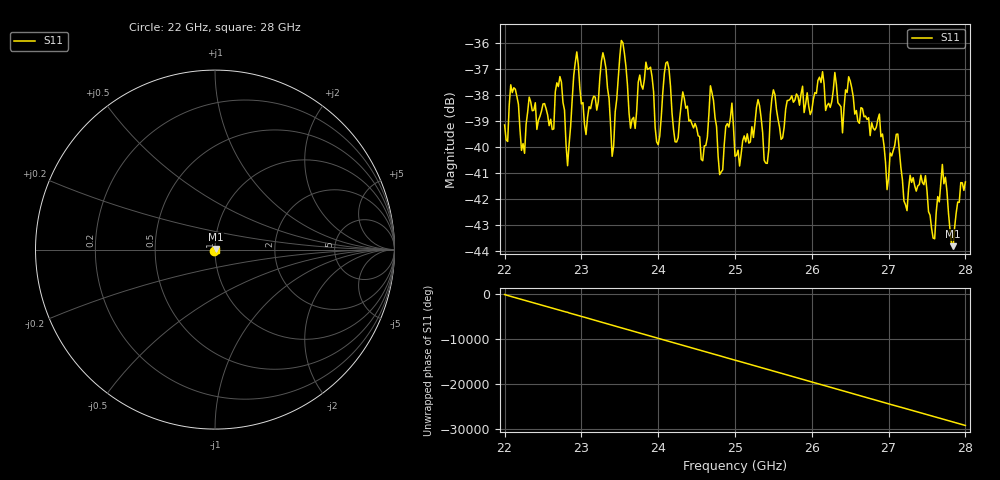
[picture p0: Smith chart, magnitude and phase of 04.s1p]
#  HZ  S  RI  R  50.00
! Rohde & Schwarz ZVA40 4Ports - Version 3.90 - 1145.1110k42 SN: 100403
! Date: 2023-10-04 10:17:10
! Measurement: S12
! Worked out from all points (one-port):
!   301 points, 22 GHz to 28 GHz, reference 50 ohm
!   lowest |S11| = -43.8 dB at 27.84 GHz (marker M1), VSWR 1.01, Z = 50.5 + j0.41 ohm
!   |S11| at or under -10 dB: start of sweep to end of sweep
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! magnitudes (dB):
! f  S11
! 22 GHz  -39.2
! 22.76 GHz  -38.3
! 22.82 GHz  -40.7
! 22.94 GHz  -36.3
! 23.06 GHz  -39.5
! 23.28 GHz  -36.4
! 23.4 GHz  -40.4
! 23.5 GHz  -36.5
! 23.64 GHz  -39.3
! 23.9 GHz  -36.9
! 24 GHz  -39.9
! 24.12 GHz  -36.7
! 24.26 GHz  -39.6
! 24.32 GHz  -37.9
! 24.58 GHz  -40.5
! 24.68 GHz  -37.6
! 24.8 GHz  -41.1
! 24.96 GHz  -38.3
! 25 GHz  -40.4
! 25.76 GHz  -38.3
! 26.3 GHz  -37.1
! 26.4 GHz  -39.5
! 26.5 GHz  -37.5
! 27.26 GHz  -41.6
! 27.6 GHz  -43.5
! 27.7 GHz  -40.7
! 27.84 GHz  -43.8
! 28 GHz  -41.3
